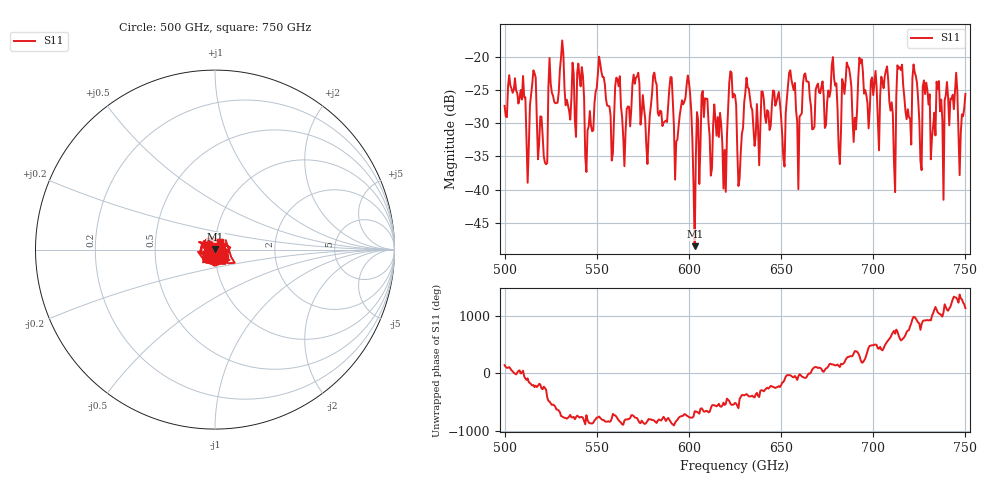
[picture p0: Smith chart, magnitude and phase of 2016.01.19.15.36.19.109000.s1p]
!Created with skrf (http://scikit-rf.org).
# GHz S RI R 50.0
!freq ReS11 ImS11
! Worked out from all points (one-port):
!   401 points, 500 GHz to 750 GHz, reference 50 ohm
!   lowest |S11| = -48.5 dB at 603.1 GHz (marker M1), VSWR 1.01, Z = 50.2 + j0.316 ohm
!   |S11| at or under -10 dB: start of sweep to end of sweep
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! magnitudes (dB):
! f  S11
! 500 GHz  -27.4
! 513.1 GHz  -33.7
! 515.6 GHz  -22.1
! 521.9 GHz  -35.9
! 531.2 GHz  -17.6
! 545 GHz  -31.1
! 551.9 GHz  -21.0
! 558.1 GHz  -35.6
! 562.5 GHz  -23.0
! 590 GHz  -23.1
! 593.8 GHz  -32.5
! 599.4 GHz  -22.9
! 603.1 GHz  -48.5
! 608.1 GHz  -29.1
! 619.4 GHz  -34.0
! 622.5 GHz  -22.2
! 625 GHz  -25.8
! 627.5 GHz  -38.3
! 631.2 GHz  -23.2
! 651.2 GHz  -35.3
! 656.2 GHz  -24.4
! 660 GHz  -29.1
! 663.1 GHz  -22.5
! 678.8 GHz  -23.3
! 681.2 GHz  -33.8
! 687.5 GHz  -22.9
! 718.8 GHz  -27.9
! 750 GHz  -25.6
